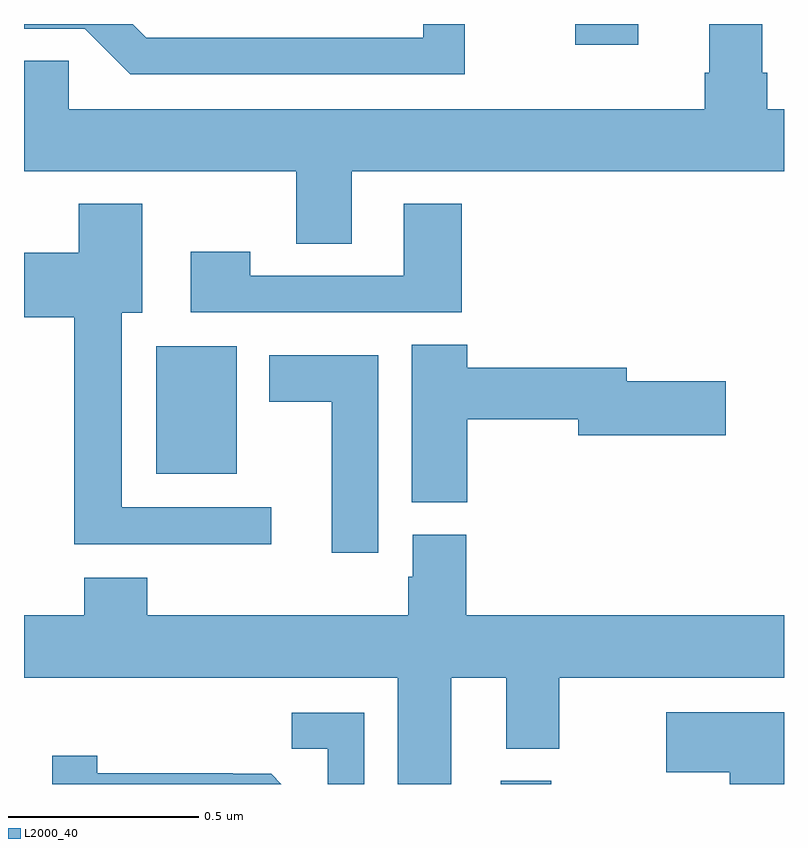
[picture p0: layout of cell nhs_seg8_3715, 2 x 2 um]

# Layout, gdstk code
import gdstk
lib = gdstk.Library(unit=1e-6, precision=1e-09)
def R(c, l, rs):  # rectangles x0, y0, x1, y1
    for r in rs: c.add(gdstk.rectangle(r[:2], r[2:], *l))
def P(c, l, *ps):  # polygons
    for p in ps: c.add(gdstk.Polygon(p, *l))
L2000_40 = (2000, 40)

nhs_seg8_3715 = lib.new_cell('nhs_seg8_3715')
R(nhs_seg8_3715, L2000_40, [(162.254,1102.9,162.388,1102.908), (161.348,1103.717,161.56,1104.052), (162.451,1104.846,162.616,1104.9)])
P(nhs_seg8_3715, L2000_40, [(161.863,1104.512),(163,1104.512),(163,1104.676),(162.956,1104.676),(162.956,1104.772),(162.943,1104.772),(162.943,1104.9),(162.803,1104.9),(162.803,1104.772),(162.791,1104.772),(162.791,1104.676),(161.118,1104.676),(161.118,1104.803),(161,1104.803),(161,1104.512),(161.716,1104.512),(161.716,1104.322),(161.863,1104.322)],
  [(162.16,1104.9),(162.051,1104.9),(162.051,1104.864),(161.322,1104.864),(161.286,1104.9),(161,1104.9),(161,1104.888),(161.16,1104.888),(161.28,1104.768),(162.16,1104.768)],
  [(161.65,1103.628),(161.257,1103.628),(161.257,1104.14),(161.311,1104.14),(161.311,1104.427),(161.144,1104.427),(161.144,1104.298),(161,1104.298),(161,1104.128),(161.132,1104.128),(161.132,1103.531),(161.65,1103.531)],
  [(162.152,1104.427),(161.999,1104.427),(161.999,1104.237),(161.595,1104.237),(161.595,1104.301),(161.439,1104.301),(161.439,1104.141),(162.152,1104.141)],
  [(162.167,1103.86),(162.458,1103.86),(162.458,1103.818),(162.847,1103.818),(162.847,1103.96),(162.586,1103.96),(162.586,1103.996),(162.167,1103.996),(162.167,1104.056),(162.02,1104.056),(162.02,1103.641),(162.167,1103.641)],
  [(161.932,1104.028),(161.645,1104.028),(161.645,1103.906),(161.81,1103.906),(161.81,1103.508),(161.932,1103.508)],
  [(162.124,1103.18),(162.269,1103.18),(162.269,1102.993),(162.409,1102.993),(162.409,1103.18),(163,1103.18),(163,1103.344),(162.164,1103.344),(162.164,1103.556),(162.023,1103.556),(162.023,1103.445),(162.011,1103.445),(162.011,1103.344),(161.324,1103.344),(161.324,1103.443),(161.159,1103.443),(161.159,1103.344),(161,1103.344),(161,1103.18),(161.984,1103.18),(161.984,1102.9),(162.124,1102.9)],
  [(163,1103.089),(162.69,1103.089),(162.69,1102.931),(162.857,1102.931),(162.857,1102.9),(163,1102.9)],
  [(161.895,1103.088),(161.704,1103.088),(161.704,1102.993),(161.799,1102.993),(161.799,1102.9),(161.895,1102.9)],
  [(161.65,1102.927),(161.549,1102.927),(161.549,1102.928),(161.193,1102.928),(161.193,1102.975),(161.074,1102.975),(161.074,1102.9),(161.677,1102.9)])

lib.write_gds('nhs_seg8_3715.gds')
